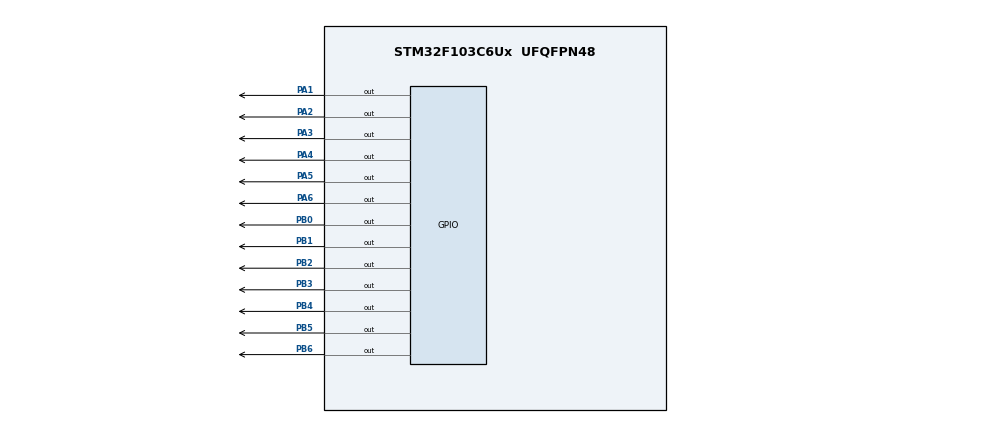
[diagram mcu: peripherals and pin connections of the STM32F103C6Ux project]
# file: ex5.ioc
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Mcu.Family=STM32F1
Mcu.Name=STM32F103C6Ux
Mcu.Package=UFQFPN48
NVIC.PriorityGroup=NVIC_PRIORITYGROUP_4
PA1.Signal=GPIO_Output
PA2.Signal=GPIO_Output
PA3.Signal=GPIO_Output
PA4.Signal=GPIO_Output
PA5.Signal=GPIO_Output
PA6.Signal=GPIO_Output
PB0.Signal=GPIO_Output
PB1.Signal=GPIO_Output
PB2.Signal=GPIO_Output
PB3.Signal=GPIO_Output
PB4.Signal=GPIO_Output
PB5.Signal=GPIO_Output
PB6.Signal=GPIO_Output
ProjectManager.HeapSize=0x200
ProjectManager.StackSize=0x400
ProjectManager.TargetToolchain=STM32CubeIDE
RCC.APB1Freq_Value=8000000
RCC.APB2Freq_Value=8000000
VP_SYS_VS_ND.Mode=No_Debug
board=custom

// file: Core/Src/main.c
/* USER CODE BEGIN Header */
/**
  ******************************************************************************
  * @file           : main.c
  * @brief          : Main program body
  ******************************************************************************
  * @attention
  *
  * <h2><center>&copy; Copyright (c) 2026 STMicroelectronics.
  * All rights reserved.</center></h2>
  *
  * This software component is licensed by ST under BSD 3-Clause license,
  * the "License"; You may not use this file except in compliance with the
  * License. You may obtain a copy of the License at:
  *                        opensource.org/licenses/BSD-3-Clause
  *
  ******************************************************************************
  */
/* USER CODE END Header */
#include "main.h"

void SystemClock_Config(void);
static void MX_GPIO_Init(void);
/* USER CODE BEGIN PFP */
void display7SEG(int num);
void setTrafficLight(uint8_t state);
/* USER CODE END PFP */

/* USER CODE BEGIN 0 */
#define LED_ON   GPIO_PIN_RESET
#define LED_OFF  GPIO_PIN_SET

/* Đường 1 */
#define R1_RED     GPIO_PIN_1
#define R1_YELLOW  GPIO_PIN_2
#define R1_GREEN   GPIO_PIN_3
/* Đường 2 */
#define R2_RED     GPIO_PIN_4
#define R2_YELLOW  GPIO_PIN_5
#define R2_GREEN   GPIO_PIN_6
#define T_RED     5
#define T_GREEN   3
#define T_YELLOW  2

uint8_t  state   = 0;

uint8_t  counter = T_GREEN;
/* USER CODE END 0 */

int main(void)
{

  /* MCU Configuration--------------------------------------------------------*/

  /* Reset of all peripherals, Initializes the Flash interface and the Systick. */
  HAL_Init();

  /* Configure the system clock */
  SystemClock_Config();

  /* Initialize all configured peripherals */
  MX_GPIO_Init();

  /* Infinite loop */
  /* USER CODE BEGIN WHILE */
  setTrafficLight(state);
  while (1)
  {
	  display7SEG(counter);
	      HAL_Delay(1000);
	      counter--;

	      if (counter == 0) {
	          state = (state + 1) % 4;
	          switch (state) {
	              case 0: counter = T_GREEN;  break;
	              case 1: counter = T_YELLOW; break;
	              case 2: counter = T_GREEN;  break;
	              case 3: counter = T_YELLOW; break;
	          }
	          setTrafficLight(state);
	      }
    /* USER CODE END WHILE */

  }
}

void SystemClock_Config(void)
{
  RCC_OscInitTypeDef RCC_OscInitStruct = {0};
  RCC_ClkInitTypeDef RCC_ClkInitStruct = {0};

  /** Initializes the RCC Oscillators according to the specified parameters
  * in the RCC_OscInitTypeDef structure.
  */
  RCC_OscInitStruct.OscillatorType = RCC_OSCILLATORTYPE_HSI;
  RCC_OscInitStruct.HSIState = RCC_HSI_ON;
  RCC_OscInitStruct.HSICalibrationValue = RCC_HSICALIBRATION_DEFAULT;
  RCC_OscInitStruct.PLL.PLLState = RCC_PLL_NONE;
  if (HAL_RCC_OscConfig(&RCC_OscInitStruct) != HAL_OK)
  {
    Error_Handler();
  }
  /** Initializes the CPU, AHB and APB buses clocks
  */
  RCC_ClkInitStruct.ClockType = RCC_CLOCKTYPE_HCLK|RCC_CLOCKTYPE_SYSCLK
                              |RCC_CLOCKTYPE_PCLK1|RCC_CLOCKTYPE_PCLK2;
  RCC_ClkInitStruct.SYSCLKSource = RCC_SYSCLKSOURCE_HSI;
  RCC_ClkInitStruct.AHBCLKDivider = RCC_SYSCLK_DIV1;
  RCC_ClkInitStruct.APB1CLKDivider = RCC_HCLK_DIV1;
  RCC_ClkInitStruct.APB2CLKDivider = RCC_HCLK_DIV1;

  if (HAL_RCC_ClockConfig(&RCC_ClkInitStruct, FLASH_LATENCY_0) != HAL_OK)
  {
    Error_Handler();
  }
}

static void MX_GPIO_Init(void)
{
  GPIO_InitTypeDef GPIO_InitStruct = {0};

  /* GPIO Ports Clock Enable */
  __HAL_RCC_GPIOA_CLK_ENABLE();
  __HAL_RCC_GPIOB_CLK_ENABLE();

  /*Configure GPIO pin Output Level */
  HAL_GPIO_WritePin(GPIOA, GPIO_PIN_1|GPIO_PIN_2|GPIO_PIN_3|GPIO_PIN_4
                          |GPIO_PIN_5|GPIO_PIN_6, GPIO_PIN_RESET);

  /*Configure GPIO pin Output Level */
  HAL_GPIO_WritePin(GPIOB, GPIO_PIN_0|GPIO_PIN_1|GPIO_PIN_2|GPIO_PIN_3
                          |GPIO_PIN_4|GPIO_PIN_5|GPIO_PIN_6, GPIO_PIN_RESET);

  /*Configure GPIO pins : PA1 PA2 PA3 PA4
                           PA5 PA6 */
  GPIO_InitStruct.Pin = GPIO_PIN_1|GPIO_PIN_2|GPIO_PIN_3|GPIO_PIN_4
                          |GPIO_PIN_5|GPIO_PIN_6;
  GPIO_InitStruct.Mode = GPIO_MODE_OUTPUT_PP;
  GPIO_InitStruct.Pull = GPIO_NOPULL;
  GPIO_InitStruct.Speed = GPIO_SPEED_FREQ_LOW;
  HAL_GPIO_Init(GPIOA, &GPIO_InitStruct);

  /*Configure GPIO pins : PB0 PB1 PB2 PB3
                           PB4 PB5 PB6 */
  GPIO_InitStruct.Pin = GPIO_PIN_0|GPIO_PIN_1|GPIO_PIN_2|GPIO_PIN_3
                          |GPIO_PIN_4|GPIO_PIN_5|GPIO_PIN_6;
  GPIO_InitStruct.Mode = GPIO_MODE_OUTPUT_PP;
  GPIO_InitStruct.Pull = GPIO_NOPULL;
  GPIO_InitStruct.Speed = GPIO_SPEED_FREQ_LOW;
  HAL_GPIO_Init(GPIOB, &GPIO_InitStruct);

}

/* USER CODE BEGIN 4 */
void display7SEG(int num) {
    static const uint8_t segNumber[10] = {
        0xC0, 0xF9, 0xA4, 0xB0, 0x99,
        0x92, 0x82, 0xF8, 0x80, 0x90
    };
    if (num < 0 || num > 9) return;
    for (int i = 0; i < 7; ++i) {
        HAL_GPIO_WritePin(GPIOB, GPIO_PIN_0 << i, (segNumber[num] >> i) & 1);
    }
}

void setTrafficLight(uint8_t s) {
    /* Tắt hết trước */
    HAL_GPIO_WritePin(GPIOA, R1_RED|R1_YELLOW|R1_GREEN|R2_RED|R2_YELLOW|R2_GREEN, LED_OFF);

    switch (s) {
        case 0:  // Đường 1 ĐỎ  — Đường 2 XANH
            HAL_GPIO_WritePin(GPIOA, R1_RED,    LED_ON);
            HAL_GPIO_WritePin(GPIOA, R2_GREEN,  LED_ON);
            break;
        case 1:  // Đường 1 ĐỎ  — Đường 2 VÀNG
            HAL_GPIO_WritePin(GPIOA, R1_RED,    LED_ON);
            HAL_GPIO_WritePin(GPIOA, R2_YELLOW, LED_ON);
            break;
        case 2:  // Đường 1 XANH — Đường 2 ĐỎ
            HAL_GPIO_WritePin(GPIOA, R1_GREEN,  LED_ON);
            HAL_GPIO_WritePin(GPIOA, R2_RED,    LED_ON);
            break;
        case 3:  // Đường 1 VÀNG — Đường 2 ĐỎ
            HAL_GPIO_WritePin(GPIOA, R1_YELLOW, LED_ON);
            HAL_GPIO_WritePin(GPIOA, R2_RED,    LED_ON);
            break;
    }
}
/* USER CODE END 4 */

void Error_Handler(void)
{
  __disable_irq();
  while (1)
  {
  }
}

/************************ (C) COPYRIGHT STMicroelectronics *****END OF FILE****/
